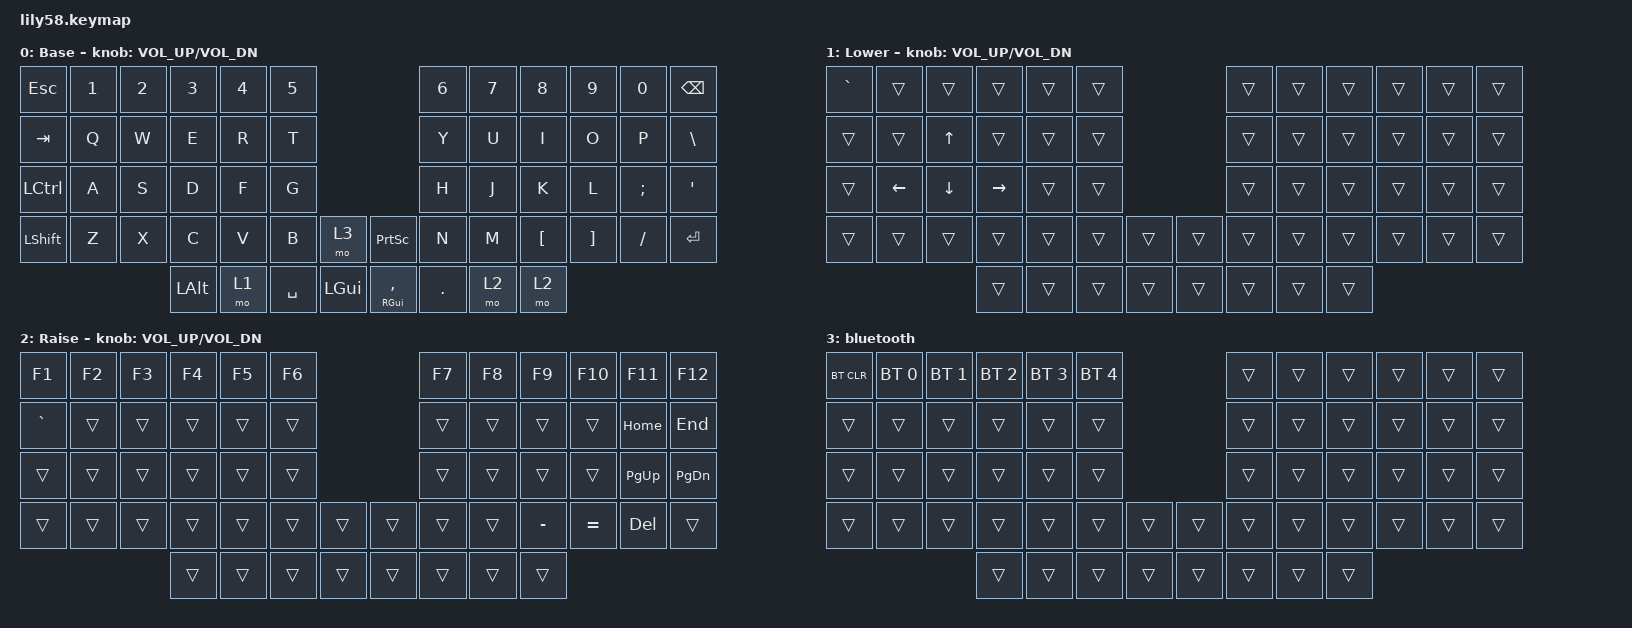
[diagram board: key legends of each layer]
/*
 * Copyright (c) 2020 The ZMK Contributors
 *
 * SPDX-License-Identifier: MIT
 */

#include <behaviors.dtsi>
#include <dt-bindings/zmk/bt.h>
#include <dt-bindings/zmk/keys.h>

/ {
    keymap {
        compatible = "zmk,keymap";

        default_layer {
            // ------------------------------------------------------------------------------------------------------------
            // |  ESC  |  1  |  2  |  3   |  4   |  5   |                   |  6   |  7    |  8    |  9   |   0   |   BSPC   |
            // |  TAB  |  Q  |  W  |  E   |  R   |  T   |                   |  Y   |  U    |  I    |  O   |   P   |   -   |
            // |  CTRL |  A  |  S  |  D   |  F   |  G   |                   |  H   |  J    |  K    |  L   |   ;   |   '   |
            // | SHIFT |  Z  |  X  |  C   |  V   |  B   |   PP  |  |  PSCRN  |  N   |  M    |  "["    |  "]"   |   /   | EHTER |
            //                     | ALT  | LOWER | SPACE|  GUI |  | UPPER | , | .  | GUI   |

            display-name = "Base";
            bindings = <
&kp ESC    &kp N1  &kp N2  &kp N3    &kp N4  &kp N5                                      &kp N6      &kp N7  &kp N8            &kp N9             &kp N0     &kp BSPC
&kp TAB    &kp Q   &kp W   &kp E     &kp R   &kp T                                       &kp Y       &kp U   &kp I             &kp O              &kp P      &kp BACKSLASH
&kp LCTRL  &kp A   &kp S   &kp D     &kp F   &kp G                                       &kp H       &kp J   &kp K             &kp L              &kp SEMI   &kp SQT
&kp LSHFT  &kp Z   &kp X   &kp C     &kp V   &kp B      &mo 3       &kp PSCRN            &kp N       &kp M   &kp LEFT_BRACKET  &kp RIGHT_BRACKET  &kp SLASH  &kp RET
                           &kp LALT  &mo 1   &kp SPACE  &kp LGUI    &mt RIGHT_GUI COMMA  &kp PERIOD  &mo 2   &mo 2
            >;

            sensor-bindings = <&inc_dec_kp C_VOL_UP C_VOL_DN>;
        };

        lower_layer {
            // ------------------------------------------------------------------------------------------------------------
            // | BTCLR | BT1 | BT2 |  BT3 |  BT4 |  BT5 |                   |      |       |       |      |       |       |
            // |  F1   |  F2 |  F3 |  F4  |  F5  |  F6  |                   |  F7  |  F8   |  F9   |  F10 |  F11  |  F12  |
            // |   `   |  !  |  @  |  #   |  $   |  %   |                   |  ^   |  &    |  *    |  (   |   )   |   ~   |
            // |       |     |     |      |      |      |        |  |       |      |  _    |  +    |  {   |   }   |  "|"  |
            //                     |      |      |      |        |  |       |      |       |       |

            display-name = "Lower";
            bindings = <
&kp GRAVE  &trans    &trans    &trans     &trans  &trans                    &trans  &trans  &trans  &trans  &trans  &trans
&trans     &trans    &kp UP    &trans     &trans  &trans                    &trans  &trans  &trans  &trans  &trans  &trans
&trans     &kp LEFT  &kp DOWN  &kp RIGHT  &trans  &trans                    &trans  &trans  &trans  &trans  &trans  &trans
&trans     &trans    &trans    &trans     &trans  &trans  &trans    &trans  &trans  &trans  &trans  &trans  &trans  &trans
                               &trans     &trans  &trans  &trans    &trans  &trans  &trans  &trans
            >;

            sensor-bindings = <&inc_dec_kp C_VOL_UP C_VOL_DN>;
        };

        raise_layer {
            // ------------------------------------------------------------------------------------------------------------
            // |       |     |     |      |      |      |                   |      |       |       |      |       |       |
            // |   `   |  1  |  2  |  3   |  4   |  5   |                   |  6   |   7   |   8   |  9   |   0   |       |
            // |   F1  |  F2 |  F3 |  F4  |  F5  |  F6  |                   |      |   <-  |   v   |  ^   |  ->   |       |
            // |   F7  |  F8 |  F9 |  F10 |  F11 |  F12 |        |  |       |  +   |   -   |   =   |  [   |   ]   |   \   |
            //                     |      |      |      |        |  |       |      |       |       |

            display-name = "Raise";
            bindings = <
&kp F1     &kp F2  &kp F3  &kp F4  &kp F5  &kp F6                    &kp F7  &kp F8  &kp F9     &kp F10    &kp F11      &kp F12
&kp GRAVE  &trans  &trans  &trans  &trans  &trans                    &trans  &trans  &trans     &trans     &kp HOME     &kp END
&trans     &trans  &trans  &trans  &trans  &trans                    &trans  &trans  &trans     &trans     &kp PAGE_UP  &kp PAGE_DOWN
&trans     &trans  &trans  &trans  &trans  &trans  &trans    &trans  &trans  &trans  &kp MINUS  &kp EQUAL  &kp DEL      &trans
                           &trans  &trans  &trans  &trans    &trans  &trans  &trans  &trans
            >;

            sensor-bindings = <&inc_dec_kp C_VOL_UP C_VOL_DN>;
        };

        bluetooth {
            bindings = <
&bt BT_CLR  &bt BT_SEL 0  &bt BT_SEL 1  &bt BT_SEL 2  &bt BT_SEL 3  &bt BT_SEL 4                    &trans  &trans  &trans  &trans  &trans  &trans
&trans      &trans        &trans        &trans        &trans        &trans                          &trans  &trans  &trans  &trans  &trans  &trans
&trans      &trans        &trans        &trans        &trans        &trans                          &trans  &trans  &trans  &trans  &trans  &trans
&trans      &trans        &trans        &trans        &trans        &trans        &trans    &trans  &trans  &trans  &trans  &trans  &trans  &trans
                                        &trans        &trans        &trans        &trans    &trans  &trans  &trans  &trans
            >;
        };

        extra_1 { status = "reserved"; };

        extra_2 { status = "reserved"; };

        extra_3 { status = "reserved"; };
    };
};
